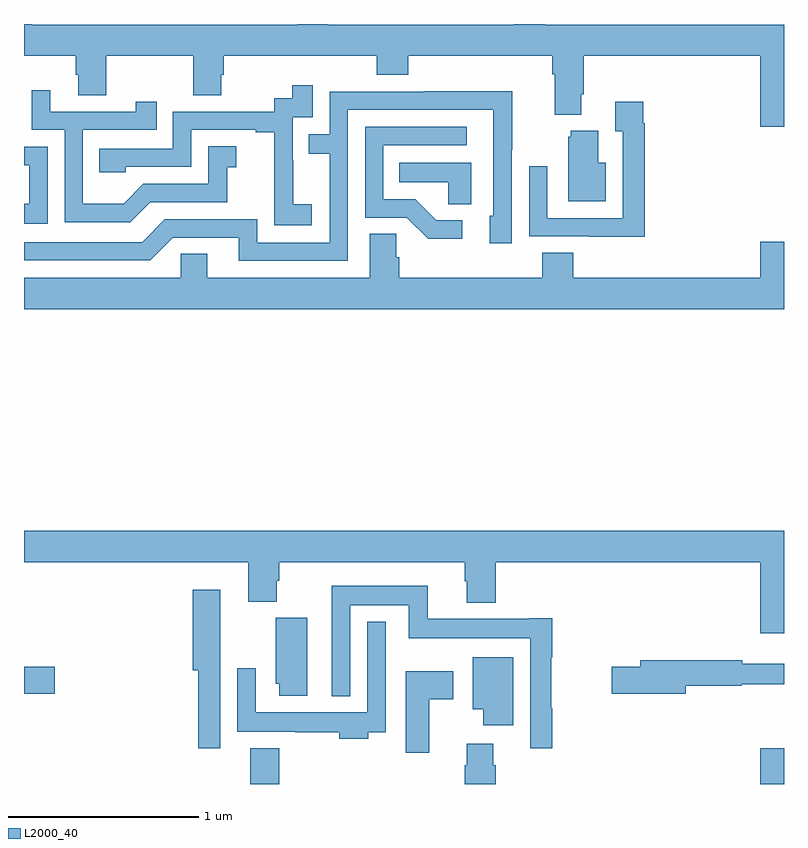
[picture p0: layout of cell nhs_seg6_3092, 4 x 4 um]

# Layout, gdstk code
import gdstk
lib = gdstk.Library(unit=1e-6, precision=1e-09)
def R(c, l, rs):  # rectangles x0, y0, x1, y1
    for r in rs: c.add(gdstk.rectangle(r[:2], r[2:], *l))
def P(c, l, *ps):  # polygons
    for p in ps: c.add(gdstk.Polygon(p, *l))
L2000_40 = (2000, 40)

nhs_seg6_3092 = lib.new_cell('nhs_seg6_3092')
R(nhs_seg6_3092, L2000_40, [(294.191,947.5,294.344,947.689), (296.876,947.5,297,947.689), (293,947.974,293.161,948.116)])
P(nhs_seg6_3092, L2000_40, [(295.577,951.496),(294.602,951.496),(294.602,951.5),(294.437,951.5),(294.437,951.496),(293.042,951.496),(293.042,951.5),(293,951.5),(293,951.332),(293.273,951.332),(293.273,951.234),(293.285,951.234),(293.285,951.124),(293.433,951.124),(293.433,951.332),(293.89,951.332),(293.89,951.124),(294.037,951.124),(294.037,951.234),(294.05,951.234),(294.05,951.332),(294.857,951.332),(294.857,951.233),(295.022,951.233),(295.022,951.332),(295.781,951.332),(295.781,951.236),(295.793,951.236),(295.793,951.023),(295.933,951.023),(295.933,951.13),(295.946,951.13),(295.946,951.332),(296.876,951.332),(296.876,950.958),(297,950.958),(297,951.496),(295.742,951.496),(295.742,951.5),(295.577,951.5)],
  [(294.514,950.551),(294.416,950.551),(294.416,950.78),(294.414,950.78),(294.414,951.009),(294.519,951.009),(294.519,951.178),(294.411,951.178),(294.411,951.108),(294.318,951.108),(294.318,951.039),(293.784,951.039),(293.784,950.844),(293.395,950.844),(293.395,950.721),(293.535,950.721),(293.535,950.748),(293.88,950.748),(293.88,950.943),(294.221,950.943),(294.221,950.931),(294.317,950.931),(294.317,950.647),(294.316,950.647),(294.316,950.441),(294.514,950.441)],
  [(293.665,950.562),(294.069,950.562),(294.069,950.747),(294.118,950.747),(294.118,950.857),(293.97,950.857),(293.97,950.658),(293.628,950.658),(293.524,950.554),(293.31,950.554),(293.31,950.943),(293.699,950.943),(293.699,951.091),(293.588,951.091),(293.588,951.039),(293.137,951.039),(293.137,951.151),(293.04,951.151),(293.04,950.943),(293.214,950.943),(293.214,950.457),(293.56,950.457)],
  [(294.705,951.048),(295.47,951.048),(295.47,950.49),(295.451,950.49),(295.451,950.346),(295.566,950.346),(295.566,950.839),(295.569,950.839),(295.569,951.146),(295.105,951.146),(295.105,951.144),(294.609,951.144),(294.609,950.919),(294.499,950.919),(294.499,950.818),(294.609,950.818),(294.609,950.349),(294.228,950.349),(294.228,950.472),(293.742,950.472),(293.622,950.352),(293,950.352),(293,950.256),(293.664,950.256),(293.784,950.376),(294.131,950.376),(294.131,950.253),(294.705,950.253)],
  [(296.267,950.978),(296.26,950.978),(296.26,951.091),(296.111,951.091),(296.111,950.935),(296.151,950.935),(296.151,950.478),(295.755,950.478),(295.755,950.752),(295.659,950.752),(295.659,950.382),(295.975,950.382),(295.975,950.381),(296.267,950.381)],
  [(295.306,950.466),(295.171,950.466),(295.06,950.577),(294.891,950.577),(294.891,950.862),(295.33,950.862),(295.33,950.958),(294.795,950.958),(294.795,950.481),(295.014,950.481),(295.127,950.369),(295.306,950.369)],
  [(296.062,950.77),(296.023,950.77),(296.023,950.938),(295.877,950.938),(295.877,950.907),(295.865,950.907),(295.865,950.567),(296.062,950.567)],
  [(293.124,950.853),(293,950.853),(293,950.757),(293.027,950.757),(293.027,950.553),(293,950.553),(293,950.448),(293.124,950.448)],
  [(295.354,950.77),(294.976,950.77),(294.976,950.666),(295.233,950.666),(295.233,950.551),(295.354,950.551)],
  [(293.826,950.291),(293.826,950.164),(293,950.164),(293,950),(297,950),(297,950.353),(296.876,950.353),(296.876,950.164),(295.892,950.164),(295.892,950.297),(295.727,950.297),(295.727,950.164),(294.974,950.164),(294.974,950.273),(294.96,950.273),(294.96,950.396),(294.821,950.396),(294.821,950.164),(293.965,950.164),(293.965,950.291)],
  [(297,948.832),(293,948.832),(293,948.668),(294.179,948.668),(294.179,948.46),(294.331,948.46),(294.331,948.569),(294.344,948.569),(294.344,948.668),(295.319,948.668),(295.319,948.567),(295.331,948.567),(295.331,948.455),(295.484,948.455),(295.484,948.668),(296.876,948.668),(296.876,948.294),(297,948.294)],
  [(295.781,947.9),(295.774,947.9),(295.774,948.166),(295.781,948.166),(295.781,948.373),(295.658,948.373),(295.658,948.37),(295.124,948.37),(295.124,948.544),(294.62,948.544),(294.62,947.963),(294.717,947.963),(294.717,948.44),(295.026,948.44),(295.026,948.266),(295.665,948.266),(295.665,947.688),(295.781,947.688)],
  [(294.033,948.202),(294.034,948.202),(294.034,948.523),(293.888,948.523),(293.888,948.098),(293.917,948.098),(293.917,947.688),(294.033,947.688)],
  [(294.49,948.375),(294.326,948.375),(294.326,948.027),(294.344,948.027),(294.344,947.964),(294.49,947.964)],
  [(294.811,947.772),(294.903,947.772),(294.903,948.355),(294.807,948.355),(294.807,947.878),(294.219,947.878),(294.219,948.109),(294.123,948.109),(294.123,947.774),(294.427,947.774),(294.427,947.772),(294.659,947.772),(294.659,947.738),(294.811,947.738)],
  [(295.576,948.166),(295.361,948.166),(295.361,947.894),(295.418,947.894),(295.418,947.808),(295.576,947.808)],
  [(296.482,948.016),(296.778,948.016),(296.778,948.024),(297,948.024),(297,948.133),(296.78,948.133),(296.78,948.152),(296.243,948.152),(296.243,948.116),(296.094,948.116),(296.094,947.974),(296.482,947.974)],
  [(295.132,947.947),(295.258,947.947),(295.258,948.094),(295.01,948.094),(295.01,947.664),(295.132,947.664)],
  [(295.484,947.598),(295.471,947.598),(295.471,947.713),(295.331,947.713),(295.331,947.598),(295.319,947.598),(295.319,947.5),(295.484,947.5)])

lib.write_gds('nhs_seg6_3092.gds')
